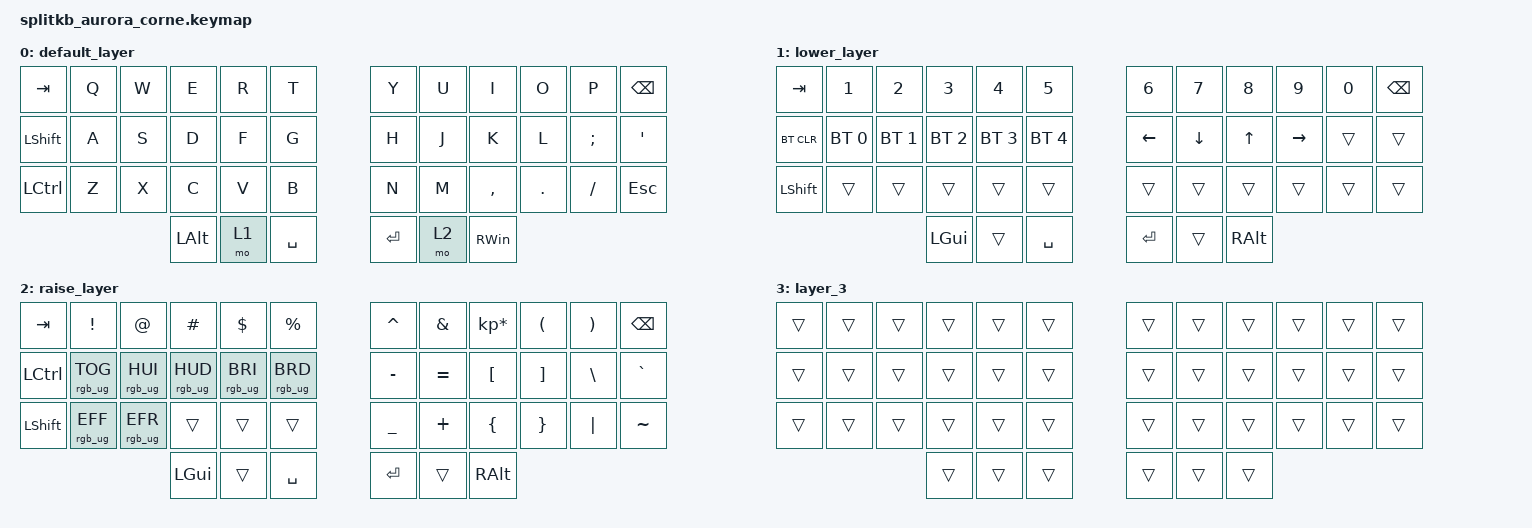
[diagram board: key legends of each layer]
/*
 * Copyright (c) 2020 The ZMK Contributors
 *
 * SPDX-License-Identifier: MIT
 */

#include <behaviors.dtsi>
#include <dt-bindings/zmk/bt.h>
#include <dt-bindings/zmk/keys.h>
#include <dt-bindings/zmk/rgb.h>

&nice_view_spi { cs-gpios = <&pro_micro 0 GPIO_ACTIVE_HIGH>; };

&led_strip { chain-length = <27>; };

/ {
    keymap {
        compatible = "zmk,keymap";

        default_layer {
            // -----------------------------------------------------------------------------------------
            // |  TAB |  Q  |  W  |  E  |  R  |  T  |   |  Y  |  U   |  I  |  O  |  P  | BKSP |
            // | CTRL |  A  |  S  |  D  |  F  |  G  |   |  H  |  J   |  K  |  L  |  ;  |  '   |
            // | SHFT |  Z  |  X  |  C  |  V  |  B  |   |  N  |  M   |  ,  |  .  |  /  | ESC  |
            //                    | GUI | LWR | SPC |   | ENT | RSE  | ALT |

            bindings = <
&kp TAB         &kp Q  &kp W  &kp E     &kp R  &kp T        &kp Y    &kp U  &kp I      &kp O    &kp P     &kp BSPC
&kp LEFT_SHIFT  &kp A  &kp S  &kp D     &kp F  &kp G        &kp H    &kp J  &kp K      &kp L    &kp SEMI  &kp SQT
&kp LCTRL       &kp Z  &kp X  &kp C     &kp V  &kp B        &kp N    &kp M  &kp COMMA  &kp DOT  &kp FSLH  &kp ESC
                              &kp LALT  &mo 1  &kp SPACE    &kp RET  &mo 2  &kp RWIN
            >;
        };

        lower_layer {
            // -----------------------------------------------------------------------------------------
            // |  TAB |  1  |  2  |  3  |  4  |  5  |   |  6  |  7  |  8  |  9  |  0  | BKSP |
            // | BTCLR| BT1 | BT2 | BT3 | BT4 | BT5 |   | LFT | DWN |  UP | RGT |     |      |
            // | SHFT |     |     |     |     |     |   |     |     |     |     |     |      |
            //                    | GUI |     | SPC |   | ENT |     | ALT |

            bindings = <
&kp TAB     &kp N1        &kp N2        &kp N3        &kp N4        &kp N5          &kp N6    &kp N7    &kp N8    &kp N9     &kp N0  &kp BSPC
&bt BT_CLR  &bt BT_SEL 0  &bt BT_SEL 1  &bt BT_SEL 2  &bt BT_SEL 3  &bt BT_SEL 4    &kp LEFT  &kp DOWN  &kp UP    &kp RIGHT  &trans  &trans
&kp LSHFT   &trans        &trans        &trans        &trans        &trans          &trans    &trans    &trans    &trans     &trans  &trans
                                        &kp LGUI      &trans        &kp SPACE       &kp RET   &trans    &kp RALT
            >;
        };

        raise_layer {
            // -----------------------------------------------------------------------------------------
            // |  TAB |  !  |  @  |  #  |  $  |  %  |   |  ^  |  &  |  *  |  (  |  )  | BKSP |
            // | CTRL |     |     |     |     |     |   |  -  |  =  |  [  |  ]  |  \  |  `   |
            // | SHFT |     |     |     |     |     |   |  _  |  +  |  {  |  }  | "|" |  ~   |
            //                    | GUI |     | SPC |   | ENT |     | ALT |

            bindings = <
&kp TAB    &kp EXCL         &kp AT           &kp HASH         &kp DLLR         &kp PRCNT          &kp CARET  &kp AMPS   &kp KP_MULTIPLY  &kp LPAR  &kp RPAR  &kp BSPC
&kp LCTRL  &rgb_ug RGB_TOG  &rgb_ug RGB_HUI  &rgb_ug RGB_HUD  &rgb_ug RGB_BRI  &rgb_ug RGB_BRD    &kp MINUS  &kp EQUAL  &kp LBKT         &kp RBKT  &kp BSLH  &kp GRAVE
&kp LSHFT  &rgb_ug RGB_EFF  &rgb_ug RGB_EFR  &trans           &trans           &trans             &kp UNDER  &kp PLUS   &kp LBRC         &kp RBRC  &kp PIPE  &kp TILDE
                                             &kp LGUI         &trans           &kp SPACE          &kp RET    &trans     &kp RALT
            >;
        };

        layer_3 {
            bindings = <
&trans  &trans  &trans  &trans  &trans  &trans    &trans  &trans  &trans  &trans  &trans  &trans
&trans  &trans  &trans  &trans  &trans  &trans    &trans  &trans  &trans  &trans  &trans  &trans
&trans  &trans  &trans  &trans  &trans  &trans    &trans  &trans  &trans  &trans  &trans  &trans
                        &trans  &trans  &trans    &trans  &trans  &trans
            >;
        };
    };
};
